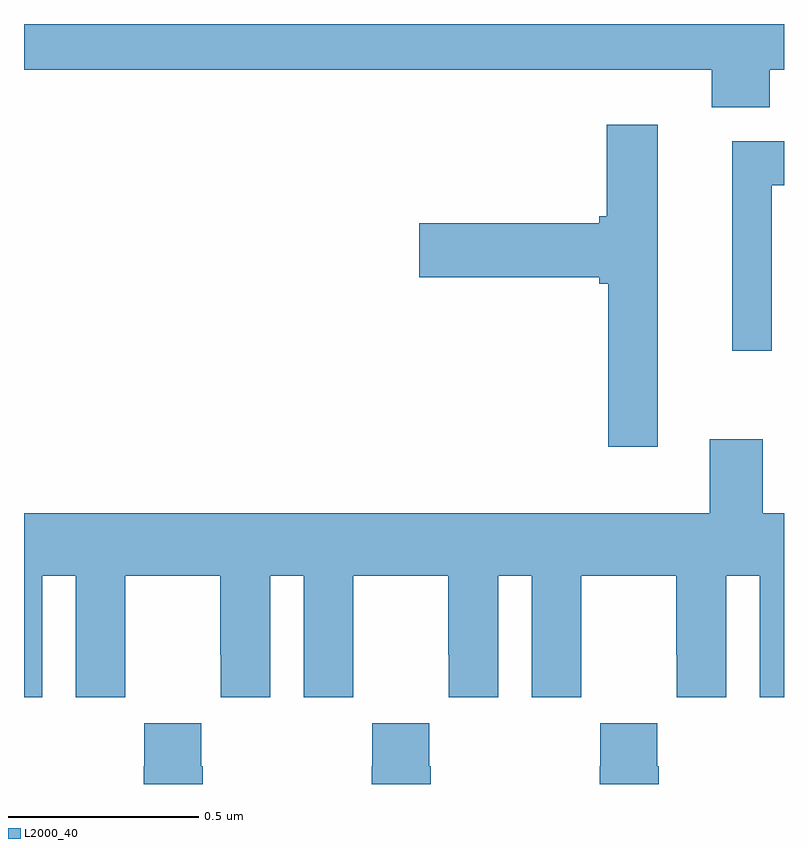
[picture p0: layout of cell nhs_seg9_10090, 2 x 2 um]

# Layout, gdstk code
import gdstk
lib = gdstk.Library(unit=1e-6, precision=1e-09)
def P(c, l, *ps):  # polygons
    for p in ps: c.add(gdstk.Polygon(p, *l))
L2000_40 = (2000, 40)

nhs_seg9_10090 = lib.new_cell('nhs_seg9_10090')
P(nhs_seg9_10090, L2000_40, [(239.962,1236.38),(240,1236.38),(240,1236.5),(238,1236.5),(238,1236.38),(239.81,1236.38),(239.81,1236.281),(239.962,1236.281)],
  [(239.668,1236.235),(239.534,1236.235),(239.534,1235.994),(239.514,1235.994),(239.514,1235.976),(239.04,1235.976),(239.04,1235.834),(239.514,1235.834),(239.514,1235.816),(239.537,1235.816),(239.537,1235.388),(239.668,1235.388)],
  [(239.968,1236.076),(240,1236.076),(240,1236.192),(239.864,1236.192),(239.864,1235.64),(239.968,1235.64)],
  [(238.048,1235.048),(238.136,1235.048),(238.136,1234.728),(238.266,1234.728),(238.266,1234.84),(238.267,1234.84),(238.267,1235.048),(238.517,1235.048),(238.517,1234.84),(238.518,1234.84),(238.518,1234.728),(238.648,1234.728),(238.648,1235.048),(238.736,1235.048),(238.736,1234.728),(238.866,1234.728),(238.866,1234.84),(238.867,1234.84),(238.867,1235.048),(239.117,1235.048),(239.117,1234.84),(239.118,1234.84),(239.118,1234.728),(239.248,1234.728),(239.248,1235.048),(239.336,1235.048),(239.336,1234.728),(239.466,1234.728),(239.466,1234.84),(239.467,1234.84),(239.467,1235.048),(239.717,1235.048),(239.717,1234.84),(239.718,1234.84),(239.718,1234.728),(239.848,1234.728),(239.848,1235.048),(239.936,1235.048),(239.936,1234.728),(240,1234.728),(240,1235.212),(239.944,1235.212),(239.944,1235.407),(239.804,1235.407),(239.804,1235.212),(238,1235.212),(238,1234.728),(238.048,1234.728)],
  [(238.47,1234.547),(238.467,1234.547),(238.467,1234.66),(238.317,1234.66),(238.317,1234.547),(238.315,1234.547),(238.315,1234.5),(238.47,1234.5)],
  [(239.07,1234.547),(239.067,1234.547),(239.067,1234.66),(238.917,1234.66),(238.917,1234.547),(238.915,1234.547),(238.915,1234.5),(239.07,1234.5)],
  [(239.67,1234.547),(239.667,1234.547),(239.667,1234.66),(239.517,1234.66),(239.517,1234.547),(239.515,1234.547),(239.515,1234.5),(239.67,1234.5)])

lib.write_gds('nhs_seg9_10090.gds')
